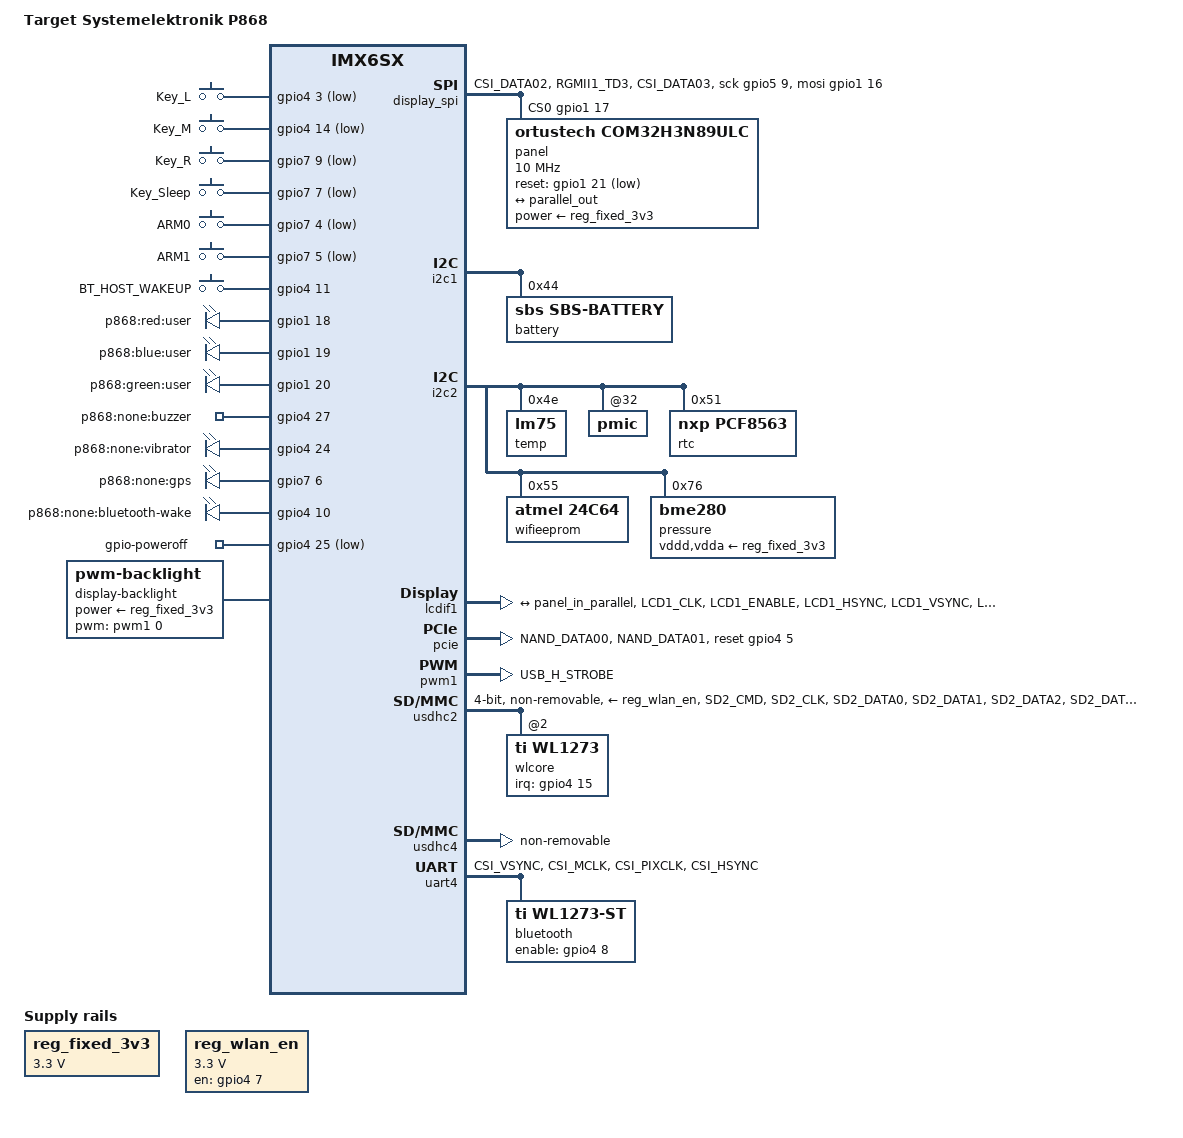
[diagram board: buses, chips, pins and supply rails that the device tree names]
// SPDX-License-Identifier: GPL-2.0
//
// Copyright 2016 Marek Vasut <marex@denx.de>

/dts-v1/;

#include "imx6sx-trizeps-vii.dtsi"

/ {
	model = "Target Systemelektronik P868";
	compatible = "targetsg,p868", "keithkoep,imx6sx-trizeps-vii",
		     "fsl,imx6sx";

	chosen {
		stdout-path = &uart1;
	};

	gpio-keys {
		compatible = "gpio-keys";
		status = "ok";
		pinctrl-names = "default";
		pinctrl-0 = <&pinctrl_keys>;

		left {
			label = "Key_L";
			gpios = <&gpio4 3 GPIO_ACTIVE_LOW>;
			linux,code = <KEY_L>;
		};

		middle {
			label = "Key_M";
			gpios = <&gpio4 14 GPIO_ACTIVE_LOW>;
			linux,code = <KEY_M>;
		};

		right {
			label = "Key_R";
			gpios = <&gpio7 9 GPIO_ACTIVE_LOW>;
			linux,code = <KEY_R>;
		};

		power {
			label = "Key_Sleep";
			gpios = <&gpio7 7 GPIO_ACTIVE_LOW>;
			linux,code = <KEY_SUSPEND>;
			wakeup-source;
		};

		arm0 {
			label = "ARM0";
			gpios = <&gpio7 4 GPIO_ACTIVE_LOW>;
			linux,code = <BTN_0>;
			wakeup-source;
		};

		arm1 {
			label = "ARM1";
			gpios = <&gpio7 5 GPIO_ACTIVE_LOW>;
			linux,code = <BTN_1>;
			wakeup-source;
		};

		bt-host-wakeup {
			label = "BT_HOST_WAKEUP";
			gpios = <&gpio4 11 GPIO_ACTIVE_HIGH>;
			linux,code = <BTN_2>;
			wakeup-source;
		};
	};

	leds {
		compatible = "gpio-leds";
		pinctrl-names = "default";
		pinctrl-0 = <&pinctrl_leds>;

		user1 {
			label = "p868:red:user";
			gpios = <&gpio1 18 0>;
			linux,state = "off";
		};

		user2 {
			label = "p868:blue:user";
			gpios = <&gpio1 19 0>;
			linux,state = "off";
		};

		user3 {
			label = "p868:green:user";
			gpios = <&gpio1 20 0>;
			default-state = "off";
		};

		buzzer {
			label = "p868:none:buzzer";
			gpios = <&gpio4 27 0>;
			default-state = "off";
		};

		vibra {
			label = "p868:none:vibrator";
			gpios = <&gpio4 24 0>;
			default-state = "off";
		};

		gps {
			label = "p868:none:gps";
			gpios = <&gpio7 6 0>;
			default-state = "off";
		};

		bluetooth-wake {
			label = "p868:none:bluetooth-wake";
			gpios = <&gpio4 10 0>;
			default-state = "on";
		};
	};

	gpio-poweroff {
		compatible = "gpio-poweroff";
		pinctrl-names = "default";
		pinctrl-0 = <&pinctrl_power>;
		gpios = <&gpio4 25 GPIO_ACTIVE_LOW>;
		system-power-controller;
	};

	reg_fixed_3v3: regulator-fixed-3v3 {
		compatible = "regulator-fixed";
		regulator-name = "regulator-fixed-3v3";
		regulator-min-microvolt = <3300000>;
		regulator-max-microvolt = <3300000>;
	};

	display-backlight {
		compatible = "pwm-backlight";
		pwms = <&pwm1 0 1000000>;
		pwm-names = "display-backlight";
		brightness-levels = <0 32 64 128 255>;
		default-brightness-level = <4>;
		power-supply = <&reg_fixed_3v3>;
	};

	reg_wlan_en: regulator-wlan-en {
		compatible = "regulator-fixed";
		regulator-name = "wlan-en";
		regulator-min-microvolt = <3300000>;
		regulator-max-microvolt = <3300000>;
		gpio = <&gpio4 7 GPIO_ACTIVE_HIGH>;
		startup-delay-us = <70000>;
		enable-active-high;
	};

	display_spi {
		compatible = "spi-gpio";
		pinctrl-names = "default";
		pinctrl-0 = <&pinctrl_panel_spi>;
		gpio-sck = <&gpio5 9 GPIO_ACTIVE_HIGH>;
		gpio-mosi = <&gpio1 16 GPIO_ACTIVE_HIGH>;
		cs-gpios = <&gpio1 17 GPIO_ACTIVE_HIGH>;
		num-chipselects = <1>;
		#address-cells = <1>;
		#size-cells = <0>;
		status = "okay";

		panel: panel@0 {
			compatible = "ortustech,com32h3n89ulc";
			pinctrl-names = "default";
			pinctrl-0 = <&pinctrl_panel>;
			power-supply = <&reg_fixed_3v3>;
			reset-gpios = <&gpio1 21 GPIO_ACTIVE_LOW>;
			reg = <0>;
			spi-max-frequency = <10000000>;

			port {
				panel_in_parallel: endpoint {
					remote-endpoint = <&parallel_out>;
				};
			};
		};
	};
};

&i2c1 {
	battery: sbs-battery@44 {
		compatible = "sbs,sbs-battery";
		reg = <0x44>;
		sbs,i2c-retry-count = <2>;
		sbs,poll-retry-count = <10>;
	};
};

&i2c2 {
	//accel: bno055@28 {
	//	compatible = "bno055";
	//	reg = <0x28>;
	//	status = "disabled";	/* Controlled by userspace code */
	//};

	temp: lm75@4e {
		compatible = "lm75";
		reg = <0x4e>;
	};

	pmic: pmic@32 {
		pmicgpio: rn5t618-gpio {
			compatible = "ricoh,rn5t618-gpio";
			gpio-controller;
			#gpio-cells = <2>;
		};
	};

	rtc: rtc@51 {
		compatible = "nxp,pcf8563";
		reg = <0x51>;
	};

	wifieeprom: eeprom@55 {
		compatible = "atmel,24c64";
		reg = <0x55>;
	};

	pressure: bme280@76 {
		compatible = "bme280";
		reg = <0x76>;
		vddd-supply = <&reg_fixed_3v3>;
		vdda-supply = <&reg_fixed_3v3>;
	};
};

&iomuxc {
	imx6sx-p868 {
		pinctrl_backlight: backlightgrp {
			fsl,pins = <
				MX6SX_PAD_USB_H_STROBE__PWM1_OUT	0x10b0
			>;
		};

		pinctrl_lcdif1: lcdif1grp {
			fsl,pins = <
				MX6SX_PAD_LCD1_CLK__LCDIF1_CLK 0x4001b0b0
				MX6SX_PAD_LCD1_ENABLE__LCDIF1_ENABLE 0x4001b0b0
				MX6SX_PAD_LCD1_HSYNC__LCDIF1_HSYNC 0x4001b0b0
				MX6SX_PAD_LCD1_VSYNC__LCDIF1_VSYNC 0x4001b0b0
				MX6SX_PAD_LCD1_DATA00__LCDIF1_DATA_0 0x4001b0b0
				MX6SX_PAD_LCD1_DATA01__LCDIF1_DATA_1 0x4001b0b0
				MX6SX_PAD_LCD1_DATA02__LCDIF1_DATA_2 0x4001b0b0
				MX6SX_PAD_LCD1_DATA03__LCDIF1_DATA_3 0x4001b0b0
				MX6SX_PAD_LCD1_DATA04__LCDIF1_DATA_4 0x4001b0b0
				MX6SX_PAD_LCD1_DATA05__LCDIF1_DATA_5 0x4001b0b0
				MX6SX_PAD_LCD1_DATA06__LCDIF1_DATA_6 0x4001b0b0
				MX6SX_PAD_LCD1_DATA07__LCDIF1_DATA_7 0x4001b0b0
				MX6SX_PAD_LCD1_DATA08__LCDIF1_DATA_8 0x4001b0b0
				MX6SX_PAD_LCD1_DATA09__LCDIF1_DATA_9 0x4001b0b0
				MX6SX_PAD_LCD1_DATA10__LCDIF1_DATA_10 0x4001b0b0
				MX6SX_PAD_LCD1_DATA11__LCDIF1_DATA_11 0x4001b0b0
				MX6SX_PAD_LCD1_DATA12__LCDIF1_DATA_12 0x4001b0b0
				MX6SX_PAD_LCD1_DATA13__LCDIF1_DATA_13 0x4001b0b0
				MX6SX_PAD_LCD1_DATA14__LCDIF1_DATA_14 0x4001b0b0
				MX6SX_PAD_LCD1_DATA15__LCDIF1_DATA_15 0x4001b0b0
				MX6SX_PAD_LCD1_DATA16__LCDIF1_DATA_16 0x4001b0b0
				MX6SX_PAD_LCD1_DATA17__LCDIF1_DATA_17 0x4001b0b0
				MX6SX_PAD_LCD1_DATA18__LCDIF1_DATA_18 0x4001b0b0
				MX6SX_PAD_LCD1_DATA19__LCDIF1_DATA_19 0x4001b0b0
				MX6SX_PAD_LCD1_DATA20__LCDIF1_DATA_20 0x4001b0b0
				MX6SX_PAD_LCD1_DATA21__LCDIF1_DATA_21 0x4001b0b0
				MX6SX_PAD_LCD1_DATA22__LCDIF1_DATA_22 0x4001b0b0
				MX6SX_PAD_LCD1_DATA23__LCDIF1_DATA_23 0x4001b0b0
			>;
		};

		pinctrl_leds: ledsgrp {
			fsl,pins = <
				MX6SX_PAD_CSI_DATA04__GPIO1_IO_18	0x10b0
				MX6SX_PAD_CSI_DATA05__GPIO1_IO_19	0x10b0
				MX6SX_PAD_CSI_DATA06__GPIO1_IO_20	0x10b0
				MX6SX_PAD_QSPI1B_DATA0__GPIO4_IO_24	0x10b0
				MX6SX_PAD_QSPI1B_DATA3__GPIO4_IO_27	0x10b0
				MX6SX_PAD_SD3_DATA4__GPIO7_IO_6		0x10b0
			>;
		};

		pinctrl_keys: keysgrp {
			fsl,pins = <
				MX6SX_PAD_NAND_CLE__GPIO4_IO_3		0x10b0
				MX6SX_PAD_NAND_WE_B__GPIO4_IO_14	0x10b0
				MX6SX_PAD_SD3_DATA2__GPIO7_IO_4		0x10b0
				MX6SX_PAD_SD3_DATA3__GPIO7_IO_5		0x10b0
				MX6SX_PAD_SD3_DATA5__GPIO7_IO_7		0x10b0
				MX6SX_PAD_SD3_DATA7__GPIO7_IO_9		0x10b0
			>;
		};

		pinctrl_panel: panelgrp {
			fsl,pins = <
				MX6SX_PAD_CSI_DATA07__GPIO1_IO_21	0x10b0
			>;
		};

		pinctrl_panel_spi: panelspigrp {
			fsl,pins = <
				MX6SX_PAD_CSI_DATA02__GPIO1_IO_16	0x10b0
				MX6SX_PAD_RGMII1_TD3__GPIO5_IO_9	0x10b0
				MX6SX_PAD_CSI_DATA03__GPIO1_IO_17	0x10b0
			>;
		};

		pinctrl_pcie: pciegrp {
			fsl,pins = <
				MX6SX_PAD_NAND_DATA00__GPIO4_IO_4	0xb0b0
				MX6SX_PAD_NAND_DATA01__GPIO4_IO_5	0xb0b0
			>;
		};

		pinctrl_power: powergrp {
			fsl,pins = <
				MX6SX_PAD_QSPI1B_DATA1__GPIO4_IO_25	0x10b0
			>;
		};

		pinctrl_usdhc2: usdhc2grp {
			fsl,pins = <
				MX6SX_PAD_SD2_CMD__USDHC2_CMD		0x17059
				MX6SX_PAD_SD2_CLK__USDHC2_CLK		0x10059
				MX6SX_PAD_SD2_DATA0__USDHC2_DATA0	0x17059
				MX6SX_PAD_SD2_DATA1__USDHC2_DATA1	0x17059
				MX6SX_PAD_SD2_DATA2__USDHC2_DATA2	0x17059
				MX6SX_PAD_SD2_DATA3__USDHC2_DATA3	0x17059
				MX6SX_PAD_NAND_WP_B__GPIO4_IO_15	0x10b0
			>;
		};

		pinctrl_uart4: uart4grp {
			fsl,pins = <
				MX6SX_PAD_CSI_VSYNC__UART4_CTS_B	0x1b0b1
				MX6SX_PAD_CSI_MCLK__UART4_RX		0x1b0b1
				MX6SX_PAD_CSI_PIXCLK__UART4_TX		0x1b0b1
				MX6SX_PAD_CSI_HSYNC__UART4_RTS_B	0x1b0b1
			>;
		};
	};
};

&lcdif1 {
	pinctrl-names = "default";
	pinctrl-0 = <&pinctrl_lcdif1>;
	status = "okay";

	port {
		parallel_out: endpoint {
			remote-endpoint = <&panel_in_parallel>;
		};
	};
};

&pcie {
	pinctrl-names = "default";
	pinctrl-0 = <&pinctrl_pcie>;
	reset-gpio = <&gpio4 5 0>;
	fsl,max-link-speed = <1>;
	status = "okay";
};

&pwm1 {
	pinctrl-names = "default";
	pinctrl-0 = <&pinctrl_backlight>;
};

&usdhc1 {
	status = "disabled";	/* Disable the on-SoM WiFi */
};

&usdhc2 {
	#address-cells = <1>;
	#size-cells = <0>;
	pinctrl-names = "default";
	pinctrl-0 = <&pinctrl_usdhc2>;
	bus-width = <4>;
	non-removable;
	keep-power-in-suspend;
	cap-power-off-card;
	cap-sdio-irq;
	status = "okay";
	vmmc-supply = <&reg_wlan_en>;

	wlcore: wlcore@2 {
		compatible = "ti,wl1273";
		reg = <2>;
		interrupt-parent = <&gpio4>;
		interrupts = <15 IRQ_TYPE_LEVEL_HIGH>;
		ref-clock-frequency = <26000000>;
	};
};

&usdhc4 {
	non-removable;
	disable-wp;
};

&uart2 {
	status = "disabled";
};

&uart4 {
	pinctrl-names = "default";
	pinctrl-0 = <&pinctrl_uart4>;
	uart-has-rtscts;
	status = "okay";
	bluetooth {
		compatible = "ti,wl1273-st";
		enable-gpios = <&gpio4 8 0>;
	};
};

&reg_pcie {
	vin-supply = <&reg_fixed_3v3>;
};

&usbotg1 {
	over-current-active-high;
};

&usbotg2 {
	over-current-active-high;
};

